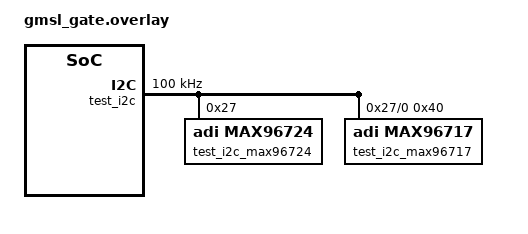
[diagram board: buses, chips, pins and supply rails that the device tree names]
/*
 * Copyright (c) 2026 Charles Dias
 *
 * SPDX-License-Identifier: Apache-2.0
 */

#include <zephyr/dt-bindings/video/video-interfaces.h>

/ {
	test {
		#address-cells = <1>;
		#size-cells = <1>;

		test_i2c: i2c@11112222 {
			compatible = "vnd,i2c";
			reg = <0x11112222 0x1000>;
			#address-cells = <1>;
			#size-cells = <0>;
			clock-frequency = <100000>;
			status = "okay";

			test_i2c_max96724: max96724@27 {
				compatible = "adi,max96724";
				reg = <0x27>;
				#address-cells = <1>;
				#size-cells = <0>;

				ports {
					#address-cells = <1>;
					#size-cells = <0>;

					port@0 {
						reg = <0>;

						t_gmsl_in: endpoint {
							remote-endpoint-label = "t_gmsl_out";
						};
					};

					port@4 {
						reg = <4>;

						endpoint {
							remote-endpoint-label = "";
							bus-type = <VIDEO_BUS_TYPE_CSI2_DPHY>;
							data-lanes = <1 2>;
							link-frequencies = <700000000>;
						};
					};
				};

				test_i2c_max96724_gate: i2c-gate@0 {
					compatible = "adi,max96724-i2c-gate";
					reg = <0>;
					#address-cells = <1>;
					#size-cells = <0>;
				};
			};
		};
	};
};

/* The MAX96717 sits behind the deserializer gate, as on real hardware. */
&test_i2c_max96724_gate {
	test_i2c_max96717: max96717@40 {
		compatible = "adi,max96717";
		reg = <0x40>;

		ports {
			#address-cells = <1>;
			#size-cells = <0>;

			port@1 {
				reg = <1>;

				t_gmsl_out: endpoint {
					remote-endpoint-label = "t_gmsl_in";
				};
			};
		};

		test_i2c_max96717_gate: i2c-gate {
			compatible = "adi,max96717-i2c-gate";
			#address-cells = <1>;
			#size-cells = <0>;
		};
	};
};
